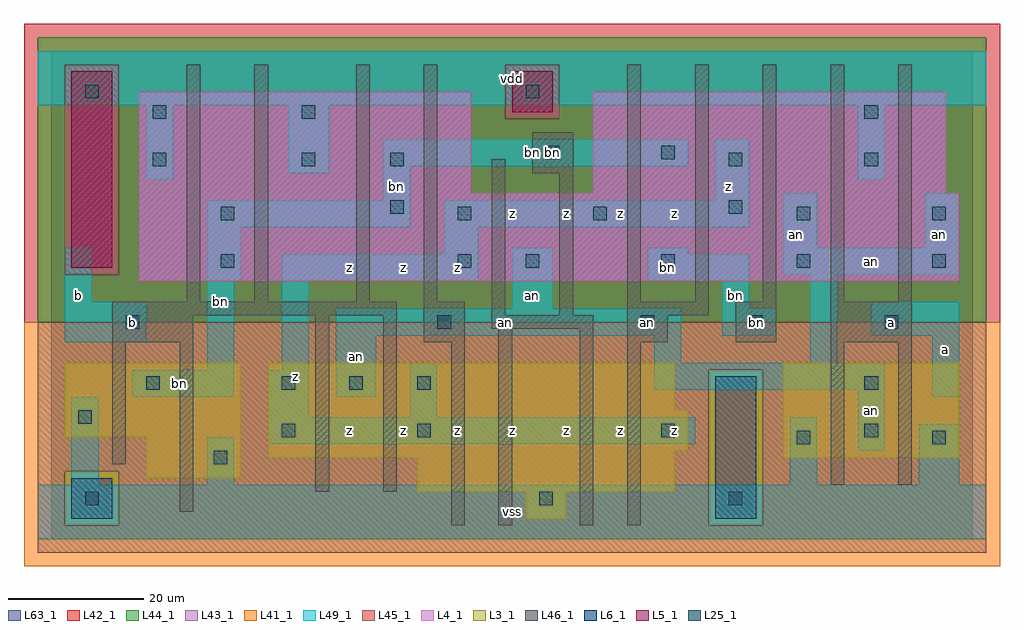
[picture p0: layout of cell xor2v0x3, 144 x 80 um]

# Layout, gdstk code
import gdstk
lib = gdstk.Library(unit=1e-6, precision=1e-09)
def R(c, l, rs):  # rectangles x0, y0, x1, y1
    for r in rs: c.add(gdstk.rectangle(r[:2], r[2:], *l))
def A(c, l, x, y, w, h, nx, ny, dx, dy):  # array of equal rectangles
    R(c, l, [(x+i*dx, y+j*dy, x+i*dx+w, y+j*dy+h) for i in range(nx) for j in range(ny)])
L3_1 = (3, 1)
L4_1 = (4, 1)
L5_1 = (5, 1)
L6_1 = (6, 1)
L25_1 = (25, 1)
L41_1 = (41, 1)
L42_1 = (42, 1)
L43_1 = (43, 1)
L44_1 = (44, 1)
L45_1 = (45, 1)
L46_1 = (46, 1)
L49_1 = (49, 1)
L63_1 = (63, 1)

xor2v0x3 = lib.new_cell('xor2v0x3')
R(xor2v0x3, L3_1, [(70,3,76,7), (54,7,92,12), (14,9,28,15), (32,12,92,13), (108,12,134,26), (32,13,94,19), (2,15,28,26), (32,19,92,26)])
R(xor2v0x3, L4_1, [(13,38,134,51), (13,51,62,66), (80,51,132,66)])
R(xor2v0x3, L5_1, [(3,40,9,69), (68,63,74,69)])
R(xor2v0x3, L6_1, [(3,3,9,9), (3,3,9,9), (98,3,104,24), (98,3,104,24)])
A(xor2v0x3, L25_1, 34, 22, 2, 2, 3, 1, 10, 0)
A(xor2v0x3, L25_1, 70, 40, 2, 2, 4, 1, 20, 0)
R(xor2v0x3, L25_1, [(5,5,7,7), (72,5,74,7), (100,5,102,7), (24,11,26,13), (110,14,112,16), (130,14,132,16), (34,15,36,17), (54,15,56,17), (90,15,92,17), (120,15,122,17), (4,17,6,19), (14,22,16,24), (120,22,122,24), (11,31,13,33), (57,31,59,33), (87,31,89,33), (103,31,105,33), (123,31,125,33), (25,40,27,42), (60,40,62,42), (25,47,27,49), (60,47,62,49), (80,47,82,49), (110,47,112,49), (130,47,132,49), (50,48,52,50), (100,48,102,50), (15,55,17,57), (37,55,39,57), (50,55,52,57), (100,55,102,57), (120,55,122,57), (73,56,75,58), (90,56,92,58), (15,62,17,64), (37,62,39,64), (120,62,122,64), (5,65,7,67), (70,65,72,67)])
R(xor2v0x3, L41_1, [(-4,-4,140,32)])
R(xor2v0x3, L42_1, [(-4,32,140,76)])
R(xor2v0x3, L43_1, [(3,3,9,9), (70,3,76,7), (98,3,104,24), (54,7,92,12), (14,9,28,15), (32,12,92,13), (108,12,134,26), (32,13,94,19), (2,15,28,26), (32,19,92,26), (13,38,134,51), (3,40,9,69), (13,51,62,66), (80,51,132,66), (68,63,74,69)])
R(xor2v0x3, L44_1, [(2,2,10,10), (97,2,105,25), (-2,32,138,39), (-2,39,2,70), (10,39,138,62), (10,62,67,70), (75,62,138,70), (-2,70,138,74)])
R(xor2v0x3, L45_1, [(-2,-2,138,2), (-2,2,2,10), (10,2,97,10), (105,2,138,25), (-2,10,97,25), (-2,25,138,32), (2,39,10,70), (67,62,75,70)])
A(xor2v0x3, L46_1, 85, 35, 2, 35, 5, 1, 10, 0)
R(xor2v0x3, L46_1, [(59,2,61,29), (66,2,68,31), (78,2,80,31), (85,2,87,29), (19,4,21,29), (39,7,41,33), (49,7,51,33), (115,8,117,29), (125,8,127,29), (9,11,11,29), (9,29,21,33), (55,29,61,35), (85,29,91,33), (101,29,107,35), (115,29,127,35), (65,31,80,33), (9,33,51,35), (65,33,67,56), (75,33,77,54), (85,33,97,35), (20,35,22,70), (30,35,32,70), (45,35,47,70), (55,35,57,70), (71,54,77,60)])
R(xor2v0x3, L49_1, [(-2,0,138,8), (3,8,7,21), (23,8,27,15), (109,8,113,18), (128,8,134,17), (119,13,123,22), (32,14,95,18), (32,18,38,25), (53,18,57,26), (12,21,27,25), (42,21,48,30), (130,21,134,30), (89,22,123,26), (23,25,27,38), (34,25,38,38), (89,26,93,30), (112,26,116,39), (2,29,14,35), (42,30,93,34), (99,30,107,34), (121,30,134,35), (68,34,74,43), (99,34,103,38), (2,35,6,43), (23,38,28,46), (34,38,63,42), (88,38,103,42), (108,39,134,43), (58,42,63,46), (88,42,94,43), (108,43,113,51), (129,43,134,51), (23,46,53,50), (58,46,103,50), (49,50,53,55), (98,50,103,59), (14,53,18,64), (119,53,123,64), (35,54,41,64), (49,55,94,59), (-2,64,138,72)])
R(xor2v0x3, L63_1, [(0,0,136,72)])
xor2v0x3.add(gdstk.Label('an', (88,32), layer=49, texttype=1))
xor2v0x3.add(gdstk.Label('bn', (74,57), layer=49, texttype=1))
xor2v0x3.add(gdstk.Label('bn', (104,32), layer=49, texttype=1))
xor2v0x3.add(gdstk.Label('b', (12,32), layer=49, texttype=1))
xor2v0x3.add(gdstk.Label('b', (4,36), layer=49, texttype=1))
xor2v0x3.add(gdstk.Label('z', (44,16), layer=49, texttype=1))
xor2v0x3.add(gdstk.Label('bn', (19,23), layer=49, texttype=1))
xor2v0x3.add(gdstk.Label('z', (36,24), layer=49, texttype=1))
xor2v0x3.add(gdstk.Label('an', (45,27), layer=49, texttype=1))
xor2v0x3.add(gdstk.Label('z', (44,40), layer=49, texttype=1))
xor2v0x3.add(gdstk.Label('bn', (25,35), layer=49, texttype=1))
xor2v0x3.add(gdstk.Label('bn', (51,52), layer=49, texttype=1))
xor2v0x3.add(gdstk.Label('vss', (68,4), layer=49, texttype=1))
xor2v0x3.add(gdstk.Label('z', (76,16), layer=49, texttype=1))
xor2v0x3.add(gdstk.Label('z', (68,16), layer=49, texttype=1))
xor2v0x3.add(gdstk.Label('z', (60,16), layer=49, texttype=1))
xor2v0x3.add(gdstk.Label('z', (52,16), layer=49, texttype=1))
xor2v0x3.add(gdstk.Label('z', (52,40), layer=49, texttype=1))
xor2v0x3.add(gdstk.Label('z', (60,40), layer=49, texttype=1))
xor2v0x3.add(gdstk.Label('an', (71,36), layer=49, texttype=1))
xor2v0x3.add(gdstk.Label('z', (76,48), layer=49, texttype=1))
xor2v0x3.add(gdstk.Label('z', (68,48), layer=49, texttype=1))
xor2v0x3.add(gdstk.Label('vdd', (68,68), layer=49, texttype=1))
xor2v0x3.add(gdstk.Label('z', (92,16), layer=49, texttype=1))
xor2v0x3.add(gdstk.Label('z', (84,16), layer=49, texttype=1))
xor2v0x3.add(gdstk.Label('bn', (101,36), layer=49, texttype=1))
xor2v0x3.add(gdstk.Label('an', (67,32), layer=49, texttype=1))
xor2v0x3.add(gdstk.Label('bn', (91,40), layer=49, texttype=1))
xor2v0x3.add(gdstk.Label('z', (84,48), layer=49, texttype=1))
xor2v0x3.add(gdstk.Label('z', (100,52), layer=49, texttype=1))
xor2v0x3.add(gdstk.Label('z', (92,48), layer=49, texttype=1))
xor2v0x3.add(gdstk.Label('bn', (71,57), layer=49, texttype=1))
xor2v0x3.add(gdstk.Label('an', (121,19), layer=49, texttype=1))
xor2v0x3.add(gdstk.Label('a', (132,28), layer=49, texttype=1))
xor2v0x3.add(gdstk.Label('a', (124,32), layer=49, texttype=1))
xor2v0x3.add(gdstk.Label('an', (131,45), layer=49, texttype=1))
xor2v0x3.add(gdstk.Label('an', (121,41), layer=49, texttype=1))
xor2v0x3.add(gdstk.Label('an', (110,45), layer=49, texttype=1))

lib.write_gds('xor2v0x3.gds')
